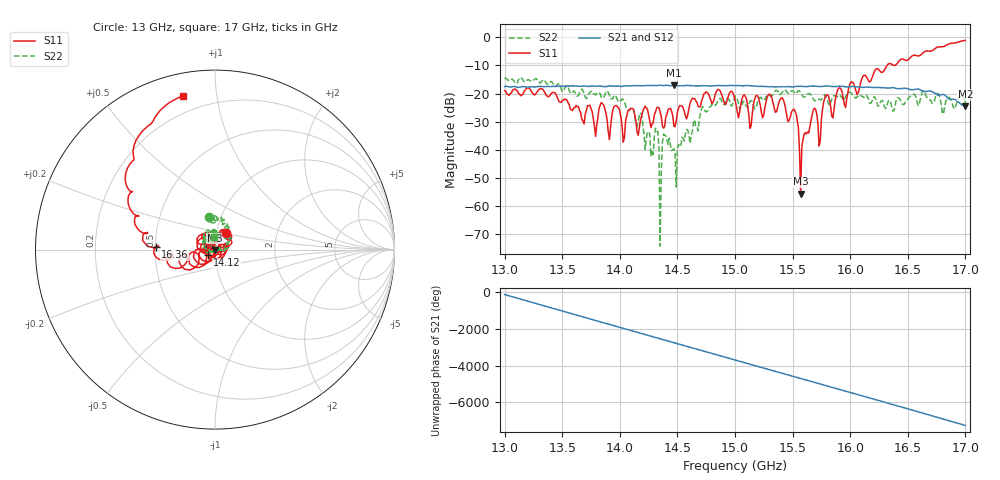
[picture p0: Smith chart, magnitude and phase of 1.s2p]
!Keysight Technologies,P9374A,MY57211807,A.19.30.04
!Date: Friday, May 01, 2026 14:43:37
!Correction: S11(C  2-Port  )
!S21(C  2-Port  )
!S12(C  2-Port  )
!S22(C  2-Port  )
!S2P File: Measurements: S11, S21, S12, S22:
# Hz S  RI  R 50
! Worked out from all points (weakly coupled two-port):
!   401 points, 13 GHz to 17 GHz, reference 50 ohm
!   highest |S21| = -17.01 dB at 14.47 GHz (marker M1); lowest = -24.5 dB at 17 GHz (marker M2)
!   lowest |S11| = -55.5 dB at 15.57 GHz (marker M3), VSWR 1.00, Z = 50 - j0.167 ohm
!   |S11| at or under -10 dB: start of sweep to 16.32 GHz; 16.37675 GHz to 16.39069 GHz (13.93 MHz wide, 0.085 % of centre)
!   |S22| runs from -74.2 to -14.3 dB; largest |S21 - S12| = 0.004
!   S11 on the Smith chart (normalised r, x): 13 GHz: 1.11, +0.21; 14.12 GHz: 0.92, -0.06; 16.36 GHz: 0.50, +0.02; 17 GHz: 0.11, +0.81
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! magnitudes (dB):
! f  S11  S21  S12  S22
! 13 GHz  -18.9  -17.5  -17.5  -14.7
! 13.67 GHz  -29.2  -17.4  -17.4  -18.4
! 14.12 GHz  -25.8  -17.2  -17.2  -25.9
! 14.32 GHz  -25.1  -17.2  -17.1  -33.4
! 14.34 GHz  -25.0  -17.1  -17.1  -39.6
! 14.37 GHz  -31.5  -17.2  -17.1  -37.4
! 14.39 GHz  -31.6  -17.1  -17.1  -34.8
! 14.47 GHz  -31.6  -17.0  -17.1  -39.6
! 14.72 GHz  -21.5  -17.2  -17.2  -24.6
! 15 GHz  -22.1  -17.2  -17.2  -20.9
! 15.13 GHz  -32.3  -17.3  -17.3  -22.7
! 15.19 GHz  -20.7  -17.4  -17.4  -24.1
! 15.41 GHz  -21.5  -17.6  -17.6  -19.7
! 15.52 GHz  -26.2  -17.5  -17.5  -20.0
! 15.57 GHz  -55.5  -17.4  -17.4  -19.6
! 15.67 GHz  -27.4  -17.4  -17.3  -21.4
! 15.73 GHz  -38.6  -17.5  -17.5  -22.0
! 15.79 GHz  -20.6  -17.3  -17.3  -21.2
! 15.85 GHz  -28.6  -17.6  -17.5  -21.0
! 16.34 GHz  -9.3  -18.1  -18.1  -22.3
! 16.36 GHz  -9.6  -17.9  -17.9  -24.7
! 17 GHz  -1.2  -24.5  -24.5  -23.3
